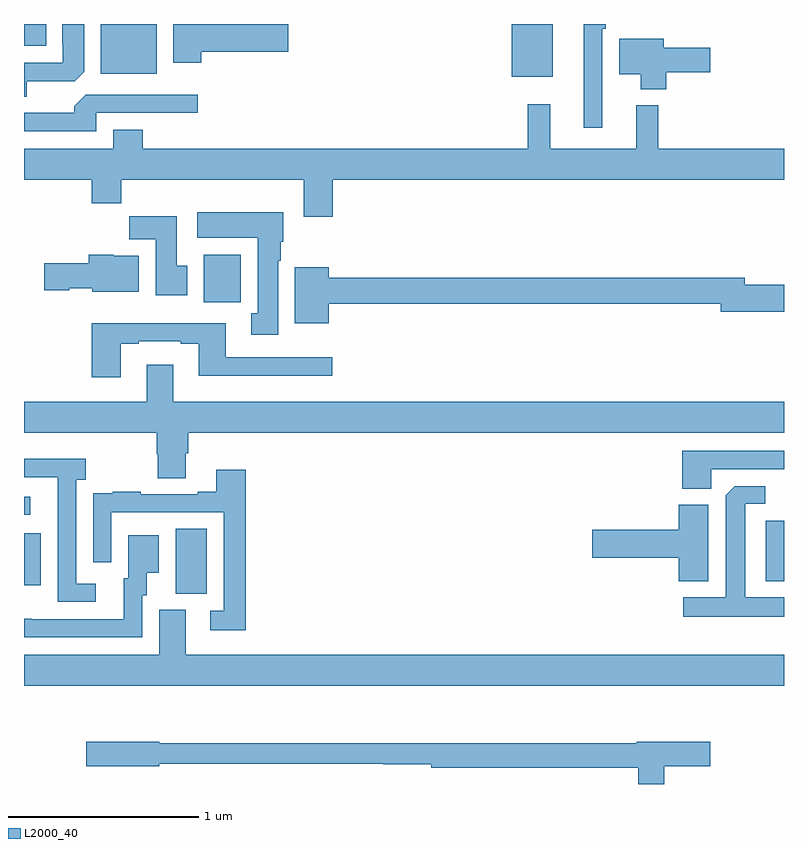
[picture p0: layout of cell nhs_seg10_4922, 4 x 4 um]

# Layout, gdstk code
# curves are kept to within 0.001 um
import gdstk
lib = gdstk.Library(unit=1e-6, precision=1e-09)
def R(c, l, rs):  # rectangles x0, y0, x1, y1
    for r in rs: c.add(gdstk.rectangle(r[:2], r[2:], *l))
def P(c, l, *ps):  # polygons
    for p in ps: c.add(gdstk.Polygon(p, *l))
L2000_40 = (2000, 40)

nhs_seg10_4922 = lib.new_cell('nhs_seg10_4922')
R(nhs_seg10_4922, L2000_40, [(395.798,1267.501,395.962,1267.844), (395,1267.545,395.089,1267.819), (398.903,1267.568,399,1267.885), (395,1267.917,395.032,1268.013), (395.945,1269.036,396.141,1269.286), (397.568,1270.223,397.783,1270.5), (395.405,1270.238,395.698,1270.5), (395,1270.385,395.116,1270.5)])
P(nhs_seg10_4922, L2000_40, [(398.043,1270.475),(398.063,1270.475),(398.063,1270.5),(397.946,1270.5),(397.946,1269.954),(398.043,1269.954)],
  [(395.014,1270.2),(395.268,1270.2),(395.317,1270.249),(395.317,1270.5),(395.201,1270.5),(395.201,1270.393),(395.205,1270.393),(395.205,1270.296),(395,1270.296),(395,1270.117),(395.014,1270.117)],
  [(395.933,1270.355),(396.391,1270.355),(396.391,1270.5),(395.786,1270.5),(395.786,1270.296),(395.933,1270.296)],
  [(398.381,1270.246),(398.611,1270.246),(398.611,1270.375),(398.368,1270.375),(398.368,1270.423),(398.132,1270.423),(398.132,1270.235),(398.246,1270.235),(398.246,1270.157),(398.381,1270.157)],
  [(395.379,1270.032),(395.914,1270.032),(395.914,1270.128),(395.325,1270.128),(395.264,1270.066),(395.264,1270.032),(395,1270.032),(395,1269.936),(395.379,1269.936)],
  [(396.626,1269.68),(399,1269.68),(399,1269.844),(398.339,1269.844),(398.339,1270.072),(398.222,1270.072),(398.222,1269.844),(397.769,1269.844),(397.769,1270.078),(397.651,1270.078),(397.651,1269.844),(395.624,1269.844),(395.624,1269.943),(395.471,1269.943),(395.471,1269.844),(395,1269.844),(395,1269.68),(395.357,1269.68),(395.357,1269.556),(395.513,1269.556),(395.513,1269.68),(396.473,1269.68),(396.473,1269.486),(396.626,1269.486)],
  [(396.337,1269.254),(396.352,1269.254),(396.352,1269.354),(396.364,1269.354),(396.364,1269.508),(395.913,1269.508),(395.913,1269.374),(396.23,1269.374),(396.23,1268.977),(396.197,1268.977),(396.197,1268.865),(396.337,1268.865)],
  [(395.86,1269.228),(395.803,1269.228),(395.803,1269.487),(395.554,1269.487),(395.554,1269.368),(395.693,1269.368),(395.693,1269.072),(395.86,1269.072)],
  [(395.605,1269.28),(395.472,1269.28),(395.472,1269.286),(395.342,1269.286),(395.342,1269.24),(395.106,1269.24),(395.106,1269.098),(395.238,1269.098),(395.238,1269.11),(395.358,1269.11),(395.358,1269.092),(395.605,1269.092)],
  [(396.604,1269.028),(398.666,1269.028),(398.666,1268.986),(399,1268.986),(399,1269.128),(398.794,1269.128),(398.794,1269.164),(396.604,1269.164),(396.604,1269.22),(396.425,1269.22),(396.425,1268.924),(396.604,1268.924)],
  [(395.509,1268.817),(395.605,1268.817),(395.605,1268.829),(395.825,1268.829),(395.825,1268.817),(395.921,1268.817),(395.921,1268.648),(396.622,1268.648),(396.622,1268.745),(396.061,1268.745),(396.061,1268.926),(395.357,1268.926),(395.357,1268.64),(395.509,1268.64)],
  [(395.851,1268.242),(395.864,1268.242),(395.864,1268.348),(399,1268.348),(399,1268.512),(395.785,1268.512),(395.785,1268.707),(395.645,1268.707),(395.645,1268.512),(395,1268.512),(395,1268.348),(395.699,1268.348),(395.699,1268.235),(395.704,1268.235),(395.704,1268.11),(395.851,1268.11)],
  [(398.616,1268.157),(399,1268.157),(399,1268.253),(398.465,1268.253),(398.465,1268.054),(398.616,1268.054)],
  [(395.377,1267.554),(395.274,1267.554),(395.274,1268.102),(395.326,1268.102),(395.326,1268.212),(395,1268.212),(395,1268.115),(395.177,1268.115),(395.177,1267.915),(395.178,1267.915),(395.178,1267.458),(395.377,1267.458)],
  [(396.167,1268.155),(396.011,1268.155),(396.011,1268.038),(395.915,1268.038),(395.915,1268.025),(395.615,1268.025),(395.615,1268.038),(395.467,1268.038),(395.467,1268.031),(395.365,1268.031),(395.365,1267.922),(395.364,1267.922),(395.364,1267.668),(395.46,1267.668),(395.46,1267.929),(396.051,1267.929),(396.051,1267.413),(395.979,1267.413),(395.979,1267.308),(396.167,1267.308)],
  [(399,1267.483),(398.797,1267.483),(398.797,1267.974),(398.902,1267.974),(398.902,1268.067),(398.74,1268.067),(398.694,1268.021),(398.693,1267.483),(398.469,1267.483),(398.469,1267.379),(399,1267.379)],
  [(398.602,1267.969),(398.447,1267.969),(398.447,1267.838),(397.992,1267.838),(397.992,1267.691),(398.447,1267.691),(398.447,1267.568),(398.602,1267.568)],
  [(395.622,1267.494),(395.647,1267.494),(395.647,1267.613),(395.71,1267.613),(395.71,1267.81),(395.549,1267.81),(395.549,1267.584),(395.525,1267.584),(395.525,1267.368),(395.041,1267.368),(395.041,1267.369),(395,1267.369),(395,1267.272),(395.622,1267.272)],
  [(399,1267.18),(395.851,1267.18),(395.851,1267.416),(395.711,1267.416),(395.711,1267.18),(395,1267.18),(395,1267.016),(399,1267.016)],
  [(398.369,1266.593),(398.611,1266.593),(398.611,1266.723),(398.226,1266.723),(398.226,1266.715),(395.712,1266.715),(395.712,1266.723),(395.328,1266.723),(395.328,1266.593),(395.712,1266.593),(395.712,1266.606),(396.892,1266.606),(396.892,1266.605),(397.144,1266.605),(397.144,1266.586),(398.233,1266.586),(398.233,1266.5),(398.369,1266.5)])

lib.write_gds('nhs_seg10_4922.gds')
